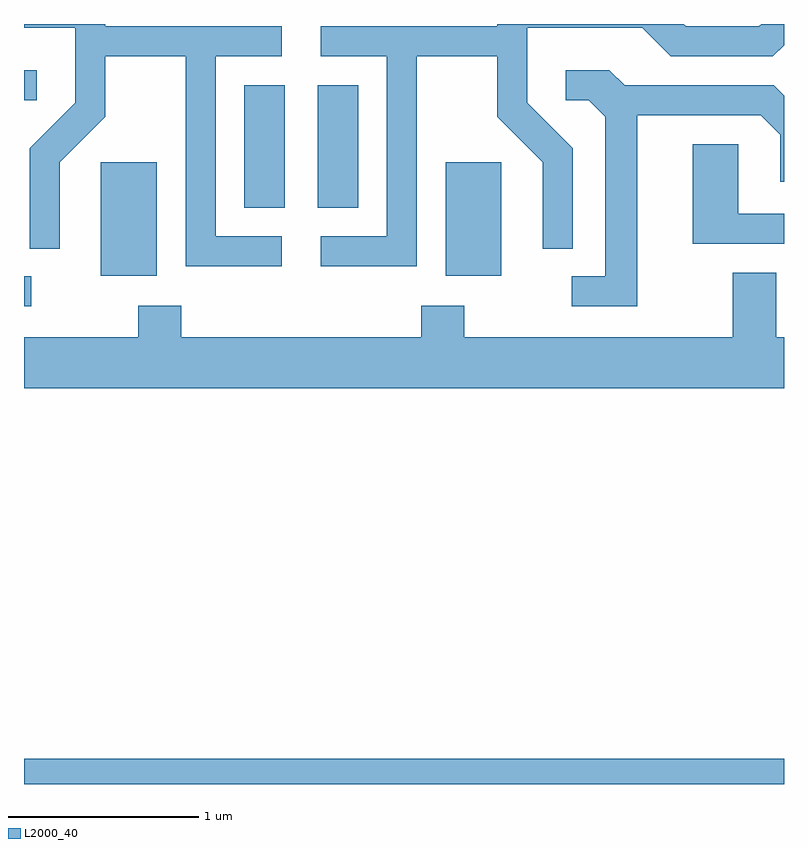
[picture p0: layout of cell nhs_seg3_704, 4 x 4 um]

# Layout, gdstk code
import gdstk
lib = gdstk.Library(unit=1e-6, precision=1e-09)
def R(c, l, rs):  # rectangles x0, y0, x1, y1
    for r in rs: c.add(gdstk.rectangle(r[:2], r[2:], *l))
def P(c, l, *ps):  # polygons
    for p in ps: c.add(gdstk.Polygon(p, *l))
L2000_40 = (2000, 40)

nhs_seg3_704 = lib.new_cell('nhs_seg3_704')
R(nhs_seg3_704, L2000_40, [(205.611,1163.892,209.611,1164.024), (205.611,1166.406,205.648,1166.564), (206.016,1166.566,206.309,1167.164), (207.831,1166.566,208.124,1167.164), (206.771,1166.926,206.984,1167.569), (207.156,1166.926,207.369,1167.569), (205.611,1167.491,205.678,1167.649)])
P(nhs_seg3_704, L2000_40, [(207.679,1167.721),(208.101,1167.721),(208.101,1167.404),(208.341,1167.164),(208.341,1166.708),(208.499,1166.708),(208.499,1167.237),(208.259,1167.477),(208.259,1167.871),(208.864,1167.871),(209.014,1167.721),(209.552,1167.721),(209.611,1167.78),(209.611,1167.892),(209.492,1167.892),(209.479,1167.879),(209.097,1167.879),(209.084,1167.892),(208.101,1167.892),(208.101,1167.879),(207.173,1167.879),(207.173,1167.721),(207.521,1167.721),(207.521,1166.774),(207.173,1166.774),(207.173,1166.616),(207.679,1166.616)],
  [(206.968,1166.774),(206.619,1166.774),(206.619,1167.721),(206.968,1167.721),(206.968,1167.879),(206.039,1167.879),(206.039,1167.892),(205.611,1167.892),(205.611,1167.871),(205.881,1167.871),(205.881,1167.477),(205.641,1167.237),(205.641,1166.708),(205.799,1166.708),(205.799,1167.164),(206.039,1167.404),(206.039,1167.721),(206.461,1167.721),(206.461,1166.616),(206.968,1166.616)],
  [(208.839,1167.411),(209.489,1167.411),(209.591,1167.309),(209.591,1167.063),(209.611,1167.063),(209.611,1167.515),(209.557,1167.569),(208.772,1167.569),(208.692,1167.649),(208.463,1167.649),(208.463,1167.491),(208.584,1167.491),(208.671,1167.404),(208.671,1166.564),(208.493,1166.564),(208.493,1166.406),(208.839,1166.406)],
  [(209.611,1166.894),(209.369,1166.894),(209.369,1167.259),(209.131,1167.259),(209.131,1166.736),(209.611,1166.736)],
  [(209.611,1166.244),(209.569,1166.244),(209.569,1166.584),(209.341,1166.584),(209.341,1166.244),(207.929,1166.244),(207.929,1166.409),(207.701,1166.409),(207.701,1166.244),(206.439,1166.244),(206.439,1166.409),(206.211,1166.409),(206.211,1166.244),(205.611,1166.244),(205.611,1165.976),(209.611,1165.976)])

lib.write_gds('nhs_seg3_704.gds')
